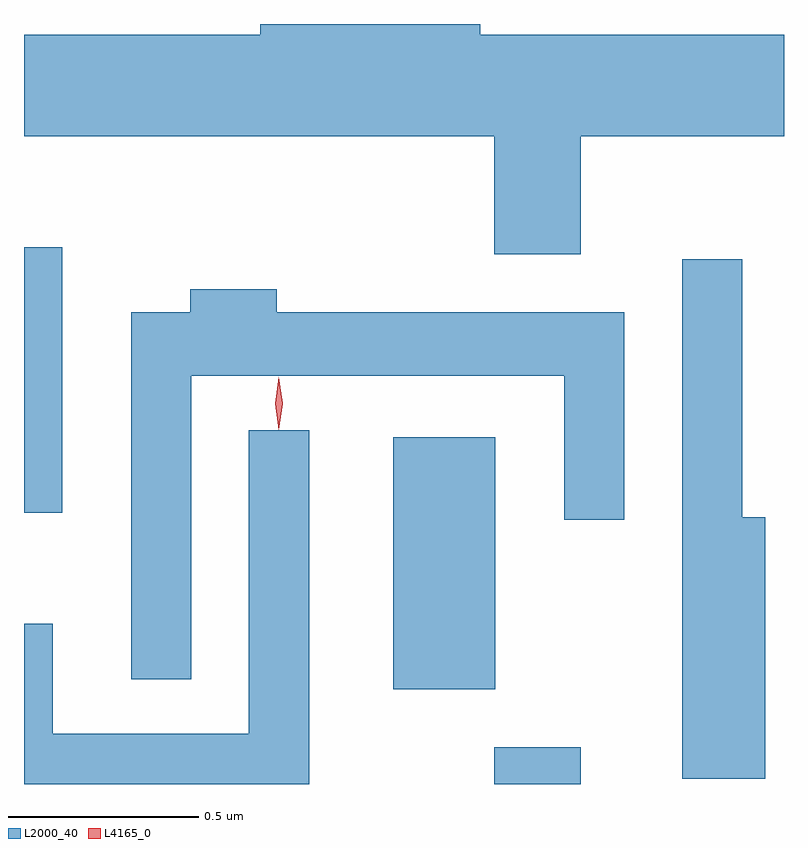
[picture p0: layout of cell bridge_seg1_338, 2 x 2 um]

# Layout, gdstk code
import gdstk
lib = gdstk.Library(unit=1e-6, precision=1e-09)
def R(c, l, rs):  # rectangles x0, y0, x1, y1
    for r in rs: c.add(gdstk.rectangle(r[:2], r[2:], *l))
def P(c, l, *ps):  # polygons
    for p in ps: c.add(gdstk.Polygon(p, *l))
L2000_40 = (2000, 40)
L4165_0 = (4165, 0)

bridge_seg1_338 = lib.new_cell('bridge_seg1_338')
R(bridge_seg1_338, L2000_40, [(933.321,875.672,933.549,875.769), (933.056,875.921,933.324,876.584), (932.084,876.386,932.184,877.084)])
P(bridge_seg1_338, L2000_40, [(933.549,877.376),(934.084,877.376),(934.084,877.644),(933.284,877.644),(933.284,877.672),(932.706,877.672),(932.706,877.644),(932.084,877.644),(932.084,877.376),(933.321,877.376),(933.321,877.066),(933.549,877.066)],
  [(934.034,876.374),(933.974,876.374),(933.974,877.053),(933.816,877.053),(933.816,875.686),(934.034,875.686)],
  [(932.524,876.746),(933.506,876.746),(933.506,876.368),(933.664,876.368),(933.664,876.914),(932.749,876.914),(932.749,876.974),(932.521,876.974),(932.521,876.914),(932.366,876.914),(932.366,875.948),(932.524,875.948)],
  [(932.834,876.603),(932.676,876.603),(932.676,875.804),(932.159,875.804),(932.159,876.094),(932.084,876.094),(932.084,875.672),(932.834,875.672)])
P(bridge_seg1_338, L4165_0, [(932.755,876.607),(932.754,876.608),(932.745,876.674),(932.754,876.74),(932.755,876.741),(932.755,876.74),(932.765,876.674),(932.755,876.608)],
  [(932.754,876.604),(932.745,876.673),(932.754,876.742),(932.755,876.743),(932.755,876.742),(932.765,876.673),(932.755,876.604),(932.755,876.604)])

lib.write_gds('bridge_seg1_338.gds')
